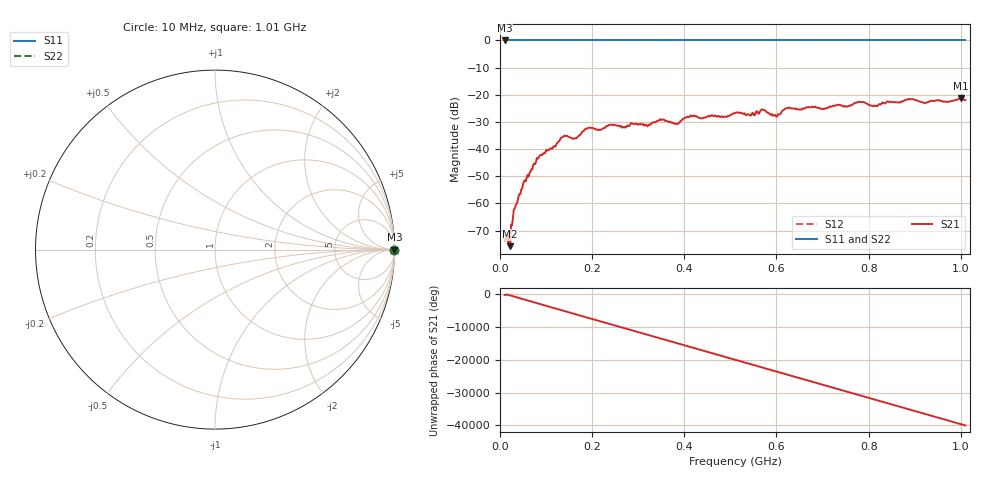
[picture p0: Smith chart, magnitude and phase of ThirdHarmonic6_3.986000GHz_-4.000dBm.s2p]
! 8/17/2025 2:12:24 PM
! C:\ANRITSUVNA\TEMP\TEMP.S2P
! CHANNEL.1
! TR.MEASUREMENT
! RAW.DATA
! RF.CORRECTION.OFF
! AVERAGING.OFF
! IF.BANDWIDTH: 5KHZ
! SWEEPTYPE:  FREQ.SWEEP(Linear)
! Reference Plane Port Info
! PORT:  PORT1  PORT2
! DISTANCE:  0  m  0  m
! TIME:  0  s  0  s
! PHASE.OFFSET:  0  deg.  0  deg.
! LOSS:  0  dB  0  dB
! REF.LOSS:  0  dB  0  dB
! REF.FREQ:  0  Hz  0  Hz
! Power Info
! POWER:  -20  dBm  -20  dBm
! EFF.POWER:  -20  dBm  -20  dBm
! SOURCE.ATTEN:  0  dB  0  dB
! TEST.ATTEN:  0  dB  0  dB
# GHZ S RI R 50.0
! FREQ.GHZ  S11RE  S11IM  S21RE  S21IM  S12RE  S12IM  S22RE  S22IM
!; PortSelection: Port_12
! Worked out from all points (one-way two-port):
!   501 points, 10 MHz to 1.01 GHz, reference 50 ohm
!   highest |S21| = -21.30 dB at 1 GHz (marker M1); lowest = -75.8 dB at 22 MHz (marker M2)
!   lowest |S11| = 0.0 dB at 10 MHz (marker M3)
!   |S11| at or under -10 dB: nowhere
!   |S22| runs from 0.0 to 0.0 dB; largest |S21 - S12| = 1.1
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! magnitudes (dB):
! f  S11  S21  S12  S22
! 10 MHz  0.0  -73.6  0.0  0.0
! 22 MHz  0.0  -75.8  0.0  0.0
! 32 MHz  0.0  -61.9  0.0  0.0
! 50 MHz  0.0  -52.9  0.0  0.0
! 84 MHz  0.0  -43.2  0.0  0.0
! 136 MHz  0.0  -35.6  0.0  0.0
! 162 MHz  0.0  -36.1  0.0  0.0
! 178 MHz  0.0  -33.7  0.0  0.0
! 192 MHz  0.0  -32.2  0.0  0.0
! 318 MHz  0.0  -31.2  0.0  0.0
! 344 MHz  0.0  -29.6  0.0  0.0
! 382 MHz  0.0  -30.7  0.0  0.0
! 418 MHz  0.0  -27.9  0.0  0.0
! 510 MHz  0.0  -26.6  0.0  0.0
! 542 MHz  0.0  -27.5  0.0  0.0
! 570 MHz  0.0  -25.4  0.0  0.0
! 598 MHz  0.0  -27.6  0.0  0.0
! 624 MHz  0.0  -24.9  0.0  0.0
! 678 MHz  0.0  -24.4  0.0  0.0
! 844 MHz  0.0  -22.6  0.0  0.0
! 1 GHz  0.0  -21.3  0.0  0.0
! 1.01 GHz  0.0  -22.0  0.0  0.0
